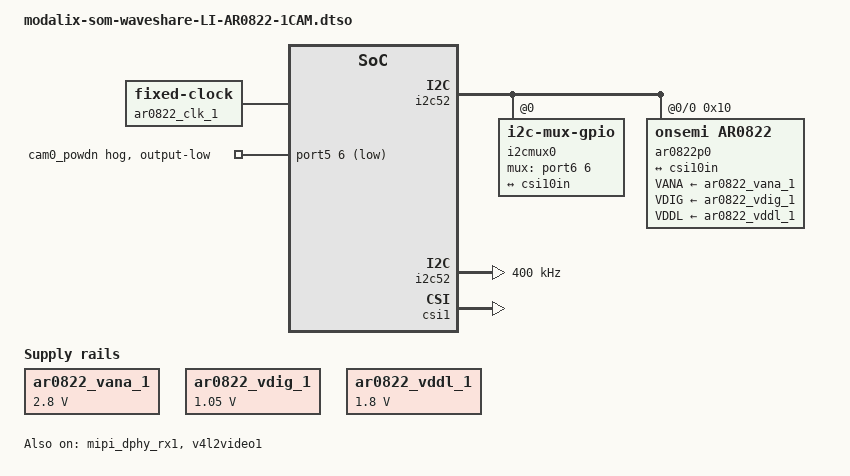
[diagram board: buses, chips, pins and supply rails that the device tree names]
// SPDX-License-Identifier: (GPL-2.0+ OR MIT)
/*
 * Copyright (c) 2026 SiMa ai
 */

/dts-v1/;
/plugin/;

&{/} {
    ar0822_vana_1: csi1_fixedregulator@0 {
        compatible = "regulator-fixed";
        regulator-name = "ar0822_vana_1";
        regulator-min-microvolt = <2800000>;
        regulator-max-microvolt = <2800000>;
        enable-active-high;
        startup-delay-us = <300000>;
        regulator-always-on;
    };
    ar0822_vdig_1: csi1_fixedregulator@1 {
        compatible = "regulator-fixed";
        regulator-name = "ar0822_vdig_1";
        regulator-min-microvolt = <1050000>;
        regulator-max-microvolt = <1050000>;
        regulator-always-on;
    };
    ar0822_vddl_1: csi1_fixedregulator@2 {
        compatible = "regulator-fixed";
        regulator-name = "ar0822_vddl_1";
        regulator-min-microvolt = <1800000>;
        regulator-max-microvolt = <1800000>;
        regulator-always-on;
    };
    ar0822_clk_1: csi1_camera-clk {
        compatible = "fixed-clock";
        #clock-cells = <0>;
        clock-frequency = <27000000>;
    };

    i2cmux0: i2cmux@0 {
        compatible = "i2c-mux-gpio";
        i2c-parent = <&i2c52>;
        #address-cells = <1>;
        #size-cells = <0>;
	i2c-mux-idle-disconnect;
        /* Set port6 gpio6 to GPIO_ACTIVE_LOW mode */
        mux-gpios = <&port6 6 0>;

        i2cmux0p0: i2c@0 {
            reg = <0>;
            #address-cells = <1>;
            #size-cells = <0>;
        };
    };
};

&port5 {
    cam-hog0 {
        gpio-hog;
        /* Set port5 gpio6 to GPIO_ACTIVE_LOW mode */
        gpios = <6 1>;
        output-low;
        line-name = "cam0_powdn";
    };
};

&i2c52 {
    status = "okay";
    clock-frequency = <400000>;
    #address-cells = <1>;
    #size-cells = <0>;
};

&csi1 {
    status = "okay";
};

&axi_vdma1 {
    status = "okay";
};

&mipi_dphy_rx1 {
    status = "okay";
};

&v4l2video1 {
    status = "okay";
};

&v4l2vdma1 {
    status = "okay";
};

&csi10in {
    clock-lanes = <0>;
    data-lanes = <1 2>;
    link-frequencies = /bits/ 64 <492750000>;
    remote-endpoint = <&cam10out>;
    clock-continuous;
};

&i2cmux0p0 {
        ar0822p0: ar0822@10 {
                compatible = "onsemi,ar0822";
                reg = <0x10>;

                clocks = <&ar0822_clk_1>;
                clock-names = "xclk";

                rotation = <0>;
                orientation = <2>;


                VANA-supply = <&ar0822_vana_1>;
                VDIG-supply = <&ar0822_vdig_1>;
                VDDL-supply = <&ar0822_vddl_1>;

                port@1 {
                        cam10out: endpoint@0 {
                                clock-lanes = <0>;
                                data-lanes = <1 2>;
                                link-frequencies = /bits/ 64 <492750000>;
                                remote-endpoint = <&csi10in>;
                                clock-continuous;
                        };
                };
        };
};
